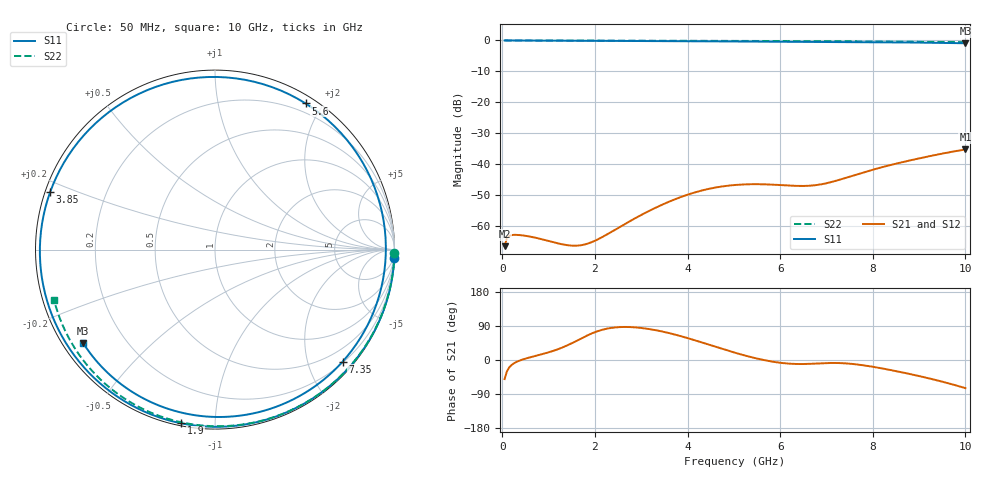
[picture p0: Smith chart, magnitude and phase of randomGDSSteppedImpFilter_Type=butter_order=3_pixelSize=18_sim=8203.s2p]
! freq	dB(S11)	phase(S11)	dB(S12)	phase(S12)
!  dB(S21)	phase(S21)	dB(S22)	phase(S22)
!S-par simulation data
#  GHz  S  DB  R 50
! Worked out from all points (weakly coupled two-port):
!   200 points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, 50 MHz to 10 GHz, reference 50 ohm
!   highest |S21| = -35.33 dB at 10 GHz (marker M1); lowest = -66.7 dB at 50 MHz (marker M2)
!   lowest |S11| = -0.9 dB at 10 GHz (marker M3), VSWR 19.11, Z = 2.88 - j15.9 ohm
!   |S11| at or under -10 dB: nowhere
!   |S22| runs from -0.5 to 0.0 dB; largest |S21 - S12| = 0
!   S11 on the Smith chart (normalised r, x): 50 MHz: 0, -41; 1.9 GHz: 0.01, -0.83; 3.85 GHz: 0.01, +0.17; 5.6 GHz: 0.09, +1.79; 7.35 GHz: 0.22, -2.64; 10 GHz: 0.06, -0.32
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0.05  -0.00 -2.8  -66.65 -50.3  -66.65 -50.3  -0.00 -0.9
0.1  -0.00 -5.5  -64.02 -29.9  -64.02 -29.9  -0.00 -1.9
0.2  -0.00 -11.1  -63.07 -13.1  -63.07 -13.1  -0.00 -3.8
0.55  -0.03 -30.3  -63.42 5.4  -63.42 5.4  -0.01 -10.4
0.95  -0.06 -51.9  -64.77 18.5  -64.77 18.5  -0.02 -17.8
1.35  -0.09 -72.9  -66.21 35.7  -66.21 35.7  -0.03 -25.2
1.75  -0.11 -93.4  -66.21 59.7  -66.21 59.7  -0.04 -32.5
1.9  -0.12 -100.9  -65.53 68.4  -65.53 68.4  -0.04 -35.2
2.3  -0.14 -120.9  -62.51 83.6  -62.51 83.6  -0.05 -42.4
2.7  -0.16 -140.7  -59.02 87.1  -59.02 87.1  -0.06 -49.5
3.4  -0.21 -175.7  -53.57 76.6  -53.57 76.6  -0.08 -61.6
3.85  -0.24 160.8  -50.77 63.1  -50.77 63.1  -0.09 -69.2
4.5  -0.29 124.8  -47.96 39.0  -47.96 39.0  -0.12 -79.8
5.05  -0.33 92.2  -46.80 18.3  -46.80 18.3  -0.14 -88.6
5.6  -0.37 58.2  -46.59 1.1  -46.59 1.1  -0.16 -97.3
6.15  -0.40 24.5  -46.98 -9.2  -46.98 -9.2  -0.19 -105.7
6.7  -0.44 -7.4  -46.99 -9.8  -46.99 -9.8  -0.22 -113.9
7.35  -0.48 -41.3  -44.82 -8.4  -44.82 -8.4  -0.27 -123.6
7.85  -0.53 -64.4  -42.52 -14.9  -42.52 -14.9  -0.31 -130.9
8.35  -0.59 -85.2  -40.49 -25.6  -40.49 -25.6  -0.35 -138.2
9.1  -0.71 -113.4  -37.89 -45.2  -37.89 -45.2  -0.43 -149.3
10  -0.91 -144.7  -35.33 -74.2  -35.33 -74.2  -0.54 -162.7
